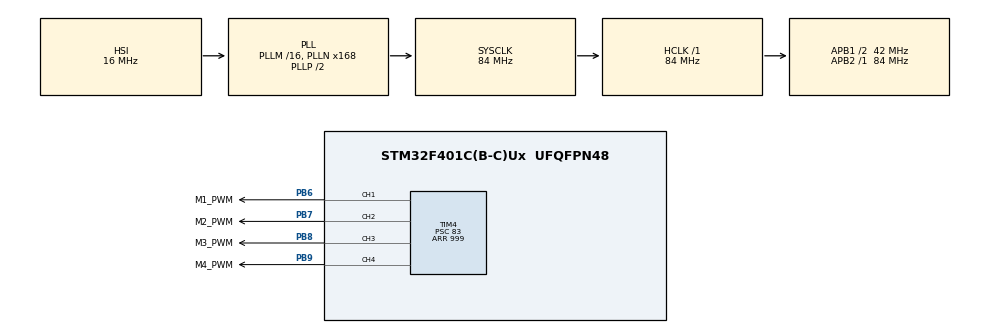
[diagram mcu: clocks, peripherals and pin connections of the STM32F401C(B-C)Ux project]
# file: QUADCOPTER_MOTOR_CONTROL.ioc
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Mcu.Family=STM32F4
Mcu.Name=STM32F401C(B-C)Ux
Mcu.Package=UFQFPN48
NVIC.PriorityGroup=NVIC_PRIORITYGROUP_4
PB6.GPIO_Label=M1_PWM
PB6.Signal=S_TIM4_CH1
PB7.GPIO_Label=M2_PWM
PB7.Signal=S_TIM4_CH2
PB8.GPIO_Label=M3_PWM
PB8.Signal=S_TIM4_CH3
PB9.GPIO_Label=M4_PWM
PB9.Signal=S_TIM4_CH4
ProjectManager.HeapSize=0x200
ProjectManager.StackSize=0x400
ProjectManager.TargetToolchain=STM32CubeIDE
RCC.48MHZClocksFreq_Value=42000000
RCC.AHBFreq_Value=84000000
RCC.APB1CLKDivider=RCC_HCLK_DIV2
RCC.APB1Freq_Value=42000000
RCC.APB1TimFreq_Value=84000000
RCC.APB2Freq_Value=84000000
RCC.APB2TimFreq_Value=84000000
RCC.CortexFreq_Value=84000000
RCC.HCLKFreq_Value=84000000
RCC.HSE_VALUE=25000000
RCC.HSI_VALUE=16000000
RCC.LSE_VALUE=32768
RCC.PLLN=168
RCC.SYSCLKFreq_VALUE=84000000
RCC.SYSCLKSource=RCC_SYSCLKSOURCE_PLLCLK
RCC.VCOOutputFreq_Value=168000000
SH.S_TIM4_CH1.0=TIM4_CH1,PWM Generation1 CH1
SH.S_TIM4_CH2.0=TIM4_CH2,PWM Generation2 CH2
SH.S_TIM4_CH3.0=TIM4_CH3,PWM Generation3 CH3
SH.S_TIM4_CH4.0=TIM4_CH4,PWM Generation4 CH4
TIM4.Channel-PWM\ Generation1\ CH1=TIM_CHANNEL_1
TIM4.Channel-PWM\ Generation2\ CH2=TIM_CHANNEL_2
TIM4.Channel-PWM\ Generation3\ CH3=TIM_CHANNEL_3
TIM4.Channel-PWM\ Generation4\ CH4=TIM_CHANNEL_4
TIM4.Period=999
TIM4.Prescaler=83
VP_TIM4_VS_ClockSourceINT.Mode=Internal
board=custom

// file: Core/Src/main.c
/* USER CODE BEGIN Header */
/**
  ******************************************************************************
  * @file           : main.c
  * @brief          : Main program body
  ******************************************************************************
  * @attention
  *
  * Copyright (c) 2025 STMicroelectronics.
  * All rights reserved.
  *
  * This software is licensed under terms that can be found in the LICENSE file
  * in the root directory of this software component.
  * If no LICENSE file comes with this software, it is provided AS-IS.
  *
  ******************************************************************************
  */
/* USER CODE END Header */
#include "main.h"

/* USER CODE BEGIN Includes */
#include "motor_drone.h"
/* USER CODE END Includes */

TIM_HandleTypeDef htim4;

/* USER CODE BEGIN PV */
MotorDroneHandler motor_drone =
{
		.motor1_ch = TIM_CHANNEL_1,
		.motor2_ch = TIM_CHANNEL_2,
		.motor3_ch = TIM_CHANNEL_3,
		.motor4_ch = TIM_CHANNEL_4,
		.timer = &htim4,
		};

/* USER CODE END PV */

void SystemClock_Config(void);
static void MX_GPIO_Init(void);
static void MX_TIM4_Init(void);

int main(void)
{

  /* MCU Configuration--------------------------------------------------------*/

  /* Reset of all peripherals, Initializes the Flash interface and the Systick. */
  HAL_Init();

  /* Configure the system clock */
  SystemClock_Config();

  /* Initialize all configured peripherals */
  MX_GPIO_Init();
  MX_TIM4_Init();
  /* USER CODE BEGIN 2 */
  HAL_Delay(1000);
  set_motor_voltage(&motor_drone, MOTOR_1, 20.0);
  set_motor_voltage(&motor_drone, MOTOR_2, 20.0);
  set_motor_voltage(&motor_drone, MOTOR_3, 20.0);
  set_motor_voltage(&motor_drone, MOTOR_4, 20.0);

  /* USER CODE END 2 */

  /* Infinite loop */
  while (1)
  {

  }
}

void SystemClock_Config(void)
{
  RCC_OscInitTypeDef RCC_OscInitStruct = {0};
  RCC_ClkInitTypeDef RCC_ClkInitStruct = {0};

  /** Configure the main internal regulator output voltage
  */
  __HAL_RCC_PWR_CLK_ENABLE();
  __HAL_PWR_VOLTAGESCALING_CONFIG(PWR_REGULATOR_VOLTAGE_SCALE2);

  /** Initializes the RCC Oscillators according to the specified parameters
  * in the RCC_OscInitTypeDef structure.
  */
  RCC_OscInitStruct.OscillatorType = RCC_OSCILLATORTYPE_HSI;
  RCC_OscInitStruct.HSIState = RCC_HSI_ON;
  RCC_OscInitStruct.HSICalibrationValue = RCC_HSICALIBRATION_DEFAULT;
  RCC_OscInitStruct.PLL.PLLState = RCC_PLL_ON;
  RCC_OscInitStruct.PLL.PLLSource = RCC_PLLSOURCE_HSI;
  RCC_OscInitStruct.PLL.PLLM = 16;
  RCC_OscInitStruct.PLL.PLLN = 168;
  RCC_OscInitStruct.PLL.PLLP = RCC_PLLP_DIV2;
  RCC_OscInitStruct.PLL.PLLQ = 4;
  if (HAL_RCC_OscConfig(&RCC_OscInitStruct) != HAL_OK)
  {
    Error_Handler();
  }

  /** Initializes the CPU, AHB and APB buses clocks
  */
  RCC_ClkInitStruct.ClockType = RCC_CLOCKTYPE_HCLK|RCC_CLOCKTYPE_SYSCLK
                              |RCC_CLOCKTYPE_PCLK1|RCC_CLOCKTYPE_PCLK2;
  RCC_ClkInitStruct.SYSCLKSource = RCC_SYSCLKSOURCE_PLLCLK;
  RCC_ClkInitStruct.AHBCLKDivider = RCC_SYSCLK_DIV1;
  RCC_ClkInitStruct.APB1CLKDivider = RCC_HCLK_DIV2;
  RCC_ClkInitStruct.APB2CLKDivider = RCC_HCLK_DIV1;

  if (HAL_RCC_ClockConfig(&RCC_ClkInitStruct, FLASH_LATENCY_2) != HAL_OK)
  {
    Error_Handler();
  }
}

static void MX_TIM4_Init(void)
{

  TIM_ClockConfigTypeDef sClockSourceConfig = {0};
  TIM_MasterConfigTypeDef sMasterConfig = {0};
  TIM_OC_InitTypeDef sConfigOC = {0};

  htim4.Instance = TIM4;
  htim4.Init.Prescaler = 83;
  htim4.Init.CounterMode = TIM_COUNTERMODE_UP;
  htim4.Init.Period = 999;
  htim4.Init.ClockDivision = TIM_CLOCKDIVISION_DIV1;
  htim4.Init.AutoReloadPreload = TIM_AUTORELOAD_PRELOAD_DISABLE;
  if (HAL_TIM_Base_Init(&htim4) != HAL_OK)
  {
    Error_Handler();
  }
  sClockSourceConfig.ClockSource = TIM_CLOCKSOURCE_INTERNAL;
  if (HAL_TIM_ConfigClockSource(&htim4, &sClockSourceConfig) != HAL_OK)
  {
    Error_Handler();
  }
  if (HAL_TIM_PWM_Init(&htim4) != HAL_OK)
  {
    Error_Handler();
  }
  sMasterConfig.MasterOutputTrigger = TIM_TRGO_RESET;
  sMasterConfig.MasterSlaveMode = TIM_MASTERSLAVEMODE_DISABLE;
  if (HAL_TIMEx_MasterConfigSynchronization(&htim4, &sMasterConfig) != HAL_OK)
  {
    Error_Handler();
  }
  sConfigOC.OCMode = TIM_OCMODE_PWM1;
  sConfigOC.Pulse = 0;
  sConfigOC.OCPolarity = TIM_OCPOLARITY_HIGH;
  sConfigOC.OCFastMode = TIM_OCFAST_DISABLE;
  if (HAL_TIM_PWM_ConfigChannel(&htim4, &sConfigOC, TIM_CHANNEL_1) != HAL_OK)
  {
    Error_Handler();
  }
  if (HAL_TIM_PWM_ConfigChannel(&htim4, &sConfigOC, TIM_CHANNEL_2) != HAL_OK)
  {
    Error_Handler();
  }
  if (HAL_TIM_PWM_ConfigChannel(&htim4, &sConfigOC, TIM_CHANNEL_3) != HAL_OK)
  {
    Error_Handler();
  }
  if (HAL_TIM_PWM_ConfigChannel(&htim4, &sConfigOC, TIM_CHANNEL_4) != HAL_OK)
  {
    Error_Handler();
  }
  /* USER CODE BEGIN TIM4_Init 2 */
  HAL_TIM_Base_Start(&htim4);
    HAL_TIM_PWM_Start(&htim4, TIM_CHANNEL_1);
    HAL_TIM_PWM_Start(&htim4, TIM_CHANNEL_2);
    HAL_TIM_PWM_Start(&htim4, TIM_CHANNEL_3);
    HAL_TIM_PWM_Start(&htim4, TIM_CHANNEL_4);
  /* USER CODE END TIM4_Init 2 */
  HAL_TIM_MspPostInit(&htim4);

}

static void MX_GPIO_Init(void)
{

  /* GPIO Ports Clock Enable */
  __HAL_RCC_GPIOB_CLK_ENABLE();

}

void Error_Handler(void)
{
  __disable_irq();
  while (1)
  {
  }
}
